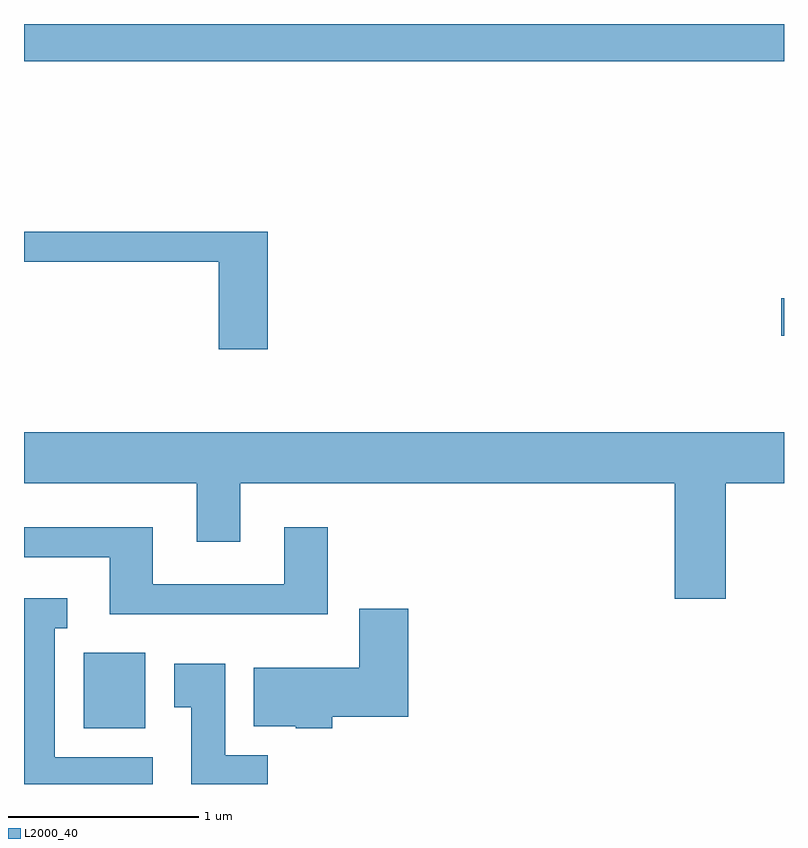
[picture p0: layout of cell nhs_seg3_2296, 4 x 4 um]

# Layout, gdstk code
import gdstk
lib = gdstk.Library(unit=1e-6, precision=1e-09)
def R(c, l, rs):  # rectangles x0, y0, x1, y1
    for r in rs: c.add(gdstk.rectangle(r[:2], r[2:], *l))
def P(c, l, *ps):  # polygons
    for p in ps: c.add(gdstk.Polygon(p, *l))
L2000_40 = (2000, 40)

nhs_seg3_2296 = lib.new_cell('nhs_seg3_2296')
R(nhs_seg3_2296, L2000_40, [(251.926,1220.186,252.249,1220.584), (255.596,1222.251,255.611,1222.449), (251.611,1223.696,255.611,1223.892)])
P(nhs_seg3_2296, L2000_40, [(252.894,1222.799),(251.611,1222.799),(251.611,1222.641),(252.636,1222.641),(252.636,1222.181),(252.894,1222.181)],
  [(255.304,1221.476),(255.611,1221.476),(255.611,1221.744),(251.611,1221.744),(251.611,1221.476),(252.521,1221.476),(252.521,1221.166),(252.749,1221.166),(252.749,1221.476),(255.036,1221.476),(255.036,1220.866),(255.304,1220.866)],
  [(253.209,1221.244),(252.981,1221.244),(252.981,1220.944),(252.289,1220.944),(252.289,1221.244),(251.611,1221.244),(251.611,1221.086),(252.061,1221.086),(252.061,1220.786),(253.209,1220.786)],
  [(252.289,1220.034),(251.774,1220.034),(251.774,1220.711),(251.838,1220.711),(251.838,1220.869),(251.611,1220.869),(251.611,1219.892),(252.289,1219.892)],
  [(253.234,1220.246),(253.634,1220.246),(253.634,1220.814),(253.376,1220.814),(253.376,1220.504),(252.821,1220.504),(252.821,1220.196),(253.04,1220.196),(253.04,1220.186),(253.234,1220.186)],
  [(252.894,1220.044),(252.669,1220.044),(252.669,1220.524),(252.401,1220.524),(252.401,1220.296),(252.491,1220.296),(252.491,1219.892),(252.894,1219.892)])

lib.write_gds('nhs_seg3_2296.gds')
